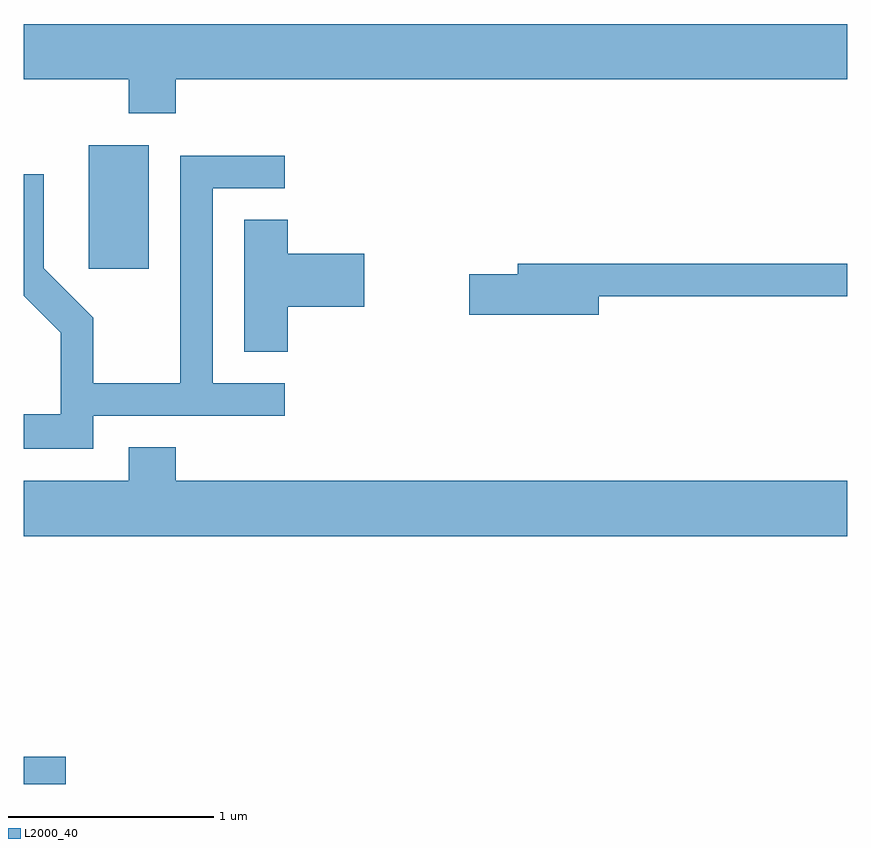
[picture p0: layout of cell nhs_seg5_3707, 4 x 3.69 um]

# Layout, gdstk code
import gdstk
lib = gdstk.Library(unit=1e-6, precision=1e-09)
def R(c, l, rs):  # rectangles x0, y0, x1, y1
    for r in rs: c.add(gdstk.rectangle(r[:2], r[2:], *l))
def P(c, l, *ps):  # polygons
    for p in ps: c.add(gdstk.Polygon(p, *l))
L2000_40 = (2000, 40)

nhs_seg5_3707 = lib.new_cell('nhs_seg5_3707')
R(nhs_seg5_3707, L2000_40, [(295.611,1420.072,295.814,1420.204), (295.926,1422.576,296.219,1423.174)])
P(nhs_seg5_3707, L2000_40, [(296.349,1423.496),(299.611,1423.496),(299.611,1423.764),(295.611,1423.764),(295.611,1423.496),(296.121,1423.496),(296.121,1423.331),(296.349,1423.331)],
  [(295.949,1421.861),(296.878,1421.861),(296.878,1422.019),(296.529,1422.019),(296.529,1422.966),(296.878,1422.966),(296.878,1423.124),(296.371,1423.124),(296.371,1422.019),(295.949,1422.019),(295.949,1422.337),(295.709,1422.577),(295.709,1423.033),(295.611,1423.033),(295.611,1422.444),(295.791,1422.264),(295.791,1421.869),(295.611,1421.869),(295.611,1421.701),(295.949,1421.701)],
  [(296.894,1422.391),(297.264,1422.391),(297.264,1422.649),(296.894,1422.649),(296.894,1422.814),(296.681,1422.814),(296.681,1422.171),(296.894,1422.171)],
  [(298.404,1422.441),(299.611,1422.441),(299.611,1422.599),(298.011,1422.599),(298.011,1422.549),(297.776,1422.549),(297.776,1422.351),(298.404,1422.351)],
  [(299.611,1421.544),(296.349,1421.544),(296.349,1421.709),(296.121,1421.709),(296.121,1421.544),(295.611,1421.544),(295.611,1421.276),(299.611,1421.276)])

lib.write_gds('nhs_seg5_3707.gds')
